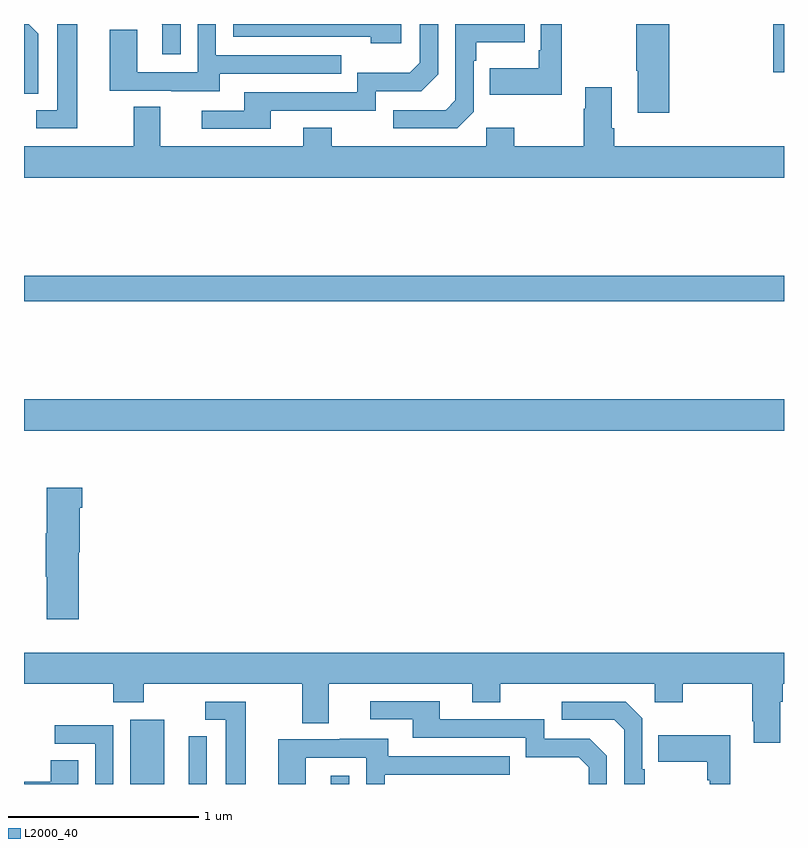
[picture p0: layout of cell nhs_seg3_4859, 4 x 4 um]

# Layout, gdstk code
import gdstk
lib = gdstk.Library(unit=1e-6, precision=1e-09)
def R(c, l, rs):  # rectangles x0, y0, x1, y1
    for r in rs: c.add(gdstk.rectangle(r[:2], r[2:], *l))
def P(c, l, *ps):  # polygons
    for p in ps: c.add(gdstk.Polygon(p, *l))
L2000_40 = (2000, 40)

nhs_seg3_4859 = lib.new_cell('nhs_seg3_4859')
R(nhs_seg3_4859, L2000_40, [(373.559,688.4,373.738,688.738), (374.615,688.4,374.712,688.444), (373,690.26,377,690.424), (373,690.94,377,691.076), (376.943,692.145,377,692.4)])
P(nhs_seg3_4859, L2000_40, [(373.824,692.4),(373.724,692.4),(373.727,692.397),(373.727,692.241),(373.824,692.241)],
  [(373.279,692.4),(373.175,692.4),(373.175,691.947),(373.065,691.947),(373.065,691.851),(373.279,691.851)],
  [(376.397,692.4),(376.222,692.4),(376.222,692.155),(376.229,692.155),(376.229,691.932),(376.397,691.932)],
  [(374.986,692.4),(374.1,692.4),(374.1,692.334),(374.825,692.334),(374.825,692.3),(374.986,692.3)],
  [(373.074,692.35),(373.024,692.4),(373,692.4),(373,692.032),(373.074,692.032)],
  [(374.029,692.139),(374.669,692.139),(374.669,692.235),(374.01,692.235),(374.01,692.4),(373.914,692.4),(373.914,692.145),(373.596,692.145),(373.596,692.369),(373.451,692.369),(373.451,692.049),(373.775,692.049),(373.775,692.045),(374.029,692.045)],
  [(375.366,691.938),(375.366,692.207),(375.379,692.207),(375.379,692.303),(375.635,692.303),(375.635,692.4),(375.27,692.4),(375.27,691.998),(375.219,691.947),(374.943,691.947),(374.943,691.851),(375.279,691.851)],
  [(374.299,691.944),(374.85,691.944),(374.85,692.046),(375.09,692.046),(375.18,692.136),(375.18,692.4),(375.084,692.4),(375.084,692.196),(375.031,692.143),(374.754,692.143),(374.754,692.04),(374.159,692.04),(374.159,691.944),(373.935,691.944),(373.935,691.848),(374.299,691.848)],
  [(375.829,692.4),(375.72,692.4),(375.72,692.263),(375.708,692.263),(375.708,692.167),(375.451,692.167),(375.451,692.027),(375.829,692.027)],
  [(377,691.756),(376.106,691.756),(376.106,691.852),(376.093,691.852),(376.093,692.068),(375.953,692.068),(375.953,691.955),(375.946,691.955),(375.946,691.756),(375.579,691.756),(375.579,691.855),(375.432,691.855),(375.432,691.756),(374.619,691.756),(374.619,691.855),(374.471,691.855),(374.471,691.756),(373.717,691.756),(373.717,691.964),(373.577,691.964),(373.577,691.756),(373,691.756),(373,691.592),(377,691.592)],
  [(373.289,689.619),(373.294,689.619),(373.294,689.855),(373.307,689.855),(373.307,689.959),(373.121,689.959),(373.121,689.719),(373.114,689.719),(373.114,689.491),(373.121,689.491),(373.121,689.268),(373.289,689.268)],
  [(376.981,688.832),(376.994,688.832),(376.994,688.928),(377,688.928),(377,689.092),(373,689.092),(373,688.928),(373.469,688.928),(373.469,688.829),(373.629,688.829),(373.629,688.928),(374.465,688.928),(374.465,688.72),(374.605,688.72),(374.605,688.928),(375.359,688.928),(375.359,688.829),(375.507,688.829),(375.507,688.928),(376.32,688.928),(376.32,688.829),(376.467,688.829),(376.467,688.928),(376.834,688.928),(376.834,688.729),(376.841,688.729),(376.841,688.617),(376.981,688.617)],
  [(376.068,688.548),(375.978,688.638),(375.738,688.638),(375.738,688.74),(375.187,688.74),(375.187,688.836),(374.823,688.836),(374.823,688.74),(375.047,688.74),(375.047,688.644),(375.642,688.644),(375.642,688.541),(375.919,688.541),(375.972,688.488),(375.972,688.4),(376.068,688.4)],
  [(374.167,688.833),(373.953,688.833),(373.953,688.737),(374.063,688.737),(374.063,688.4),(374.167,688.4)],
  [(376.267,688.477),(376.254,688.477),(376.254,688.746),(376.167,688.833),(375.831,688.833),(375.831,688.737),(376.107,688.737),(376.158,688.686),(376.158,688.4),(376.267,688.4)],
  [(373.47,688.71),(373.161,688.71),(373.161,688.611),(373.374,688.611),(373.374,688.4),(373.47,688.4)],
  [(376.717,688.657),(376.339,688.657),(376.339,688.517),(376.596,688.517),(376.596,688.421),(376.608,688.421),(376.608,688.4),(376.717,688.4)],
  [(373.962,688.652),(373.866,688.652),(373.866,688.498),(373.868,688.498),(373.868,688.4),(373.962,688.4)],
  [(374.484,688.539),(374.802,688.539),(374.802,688.4),(374.898,688.4),(374.898,688.449),(375.557,688.449),(375.557,688.545),(374.917,688.545),(374.917,688.639),(374.663,688.639),(374.663,688.635),(374.339,688.635),(374.339,688.4),(374.484,688.4)],
  [(373.285,688.526),(373.142,688.526),(373.142,688.412),(373,688.412),(373,688.4),(373.285,688.4)])

lib.write_gds('nhs_seg3_4859.gds')
